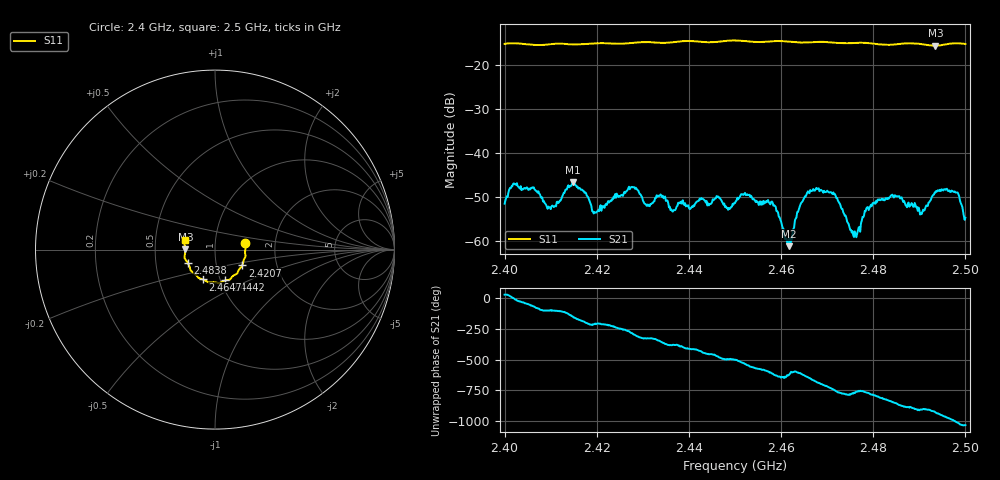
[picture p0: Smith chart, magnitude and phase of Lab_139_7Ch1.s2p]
# Hz S RI R 50
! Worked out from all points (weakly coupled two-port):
!   601 points, 2.4 GHz to 2.5 GHz, reference 50 ohm
!   highest |S21| = -46.71 dB at 2.4148 GHz (marker M1); lowest = -61.2 dB at 2.4617 GHz (marker M2)
!   lowest |S11| = -15.6 dB at 2.4935 GHz (marker M3), VSWR 1.40, Z = 35.8 + j0.143 ohm
!   |S11| at or under -10 dB: start of sweep to end of sweep
!   S12 and S22 are empty: the file has one direction only
!   S11 on the Smith chart (normalised r, x): 2.4 GHz: 1.40, +0.11; 2.4207 GHz: 1.33, -0.24; 2.4442 GHz: 1.05, -0.37; 2.4647 GHz: 0.83, -0.29; 2.4838 GHz: 0.73, -0.11; 2.5 GHz: 0.71, +0.08
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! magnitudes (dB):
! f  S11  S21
! 2.4 GHz  -15.2  -51.6
! 2.4023 GHz  -15.1  -47.2
! 2.4103 GHz  -15.2  -52.0
! 2.4148 GHz  -15.4  -46.7
! 2.4167 GHz  -15.3  -48.4
! 2.4207 GHz  -15.1  -52.4
! 2.4275 GHz  -15.1  -47.8
! 2.4333 GHz  -15.0  -49.7
! 2.4442 GHz  -14.9  -51.5
! 2.45 GHz  -14.5  -51.4
! 2.4583 GHz  -14.6  -52.0
! 2.4617 GHz  -14.7  -61.2
! 2.4647 GHz  -14.9  -51.0
! 2.4667 GHz  -14.9  -48.7
! 2.4717 GHz  -15.0  -49.3
! 2.476 GHz  -15.0  -57.8
! 2.4833 GHz  -15.5  -50.4
! 2.4838 GHz  -15.4  -49.7
! 2.4907 GHz  -15.3  -53.4
! 2.4935 GHz  -15.6  -49.0
! 2.498 GHz  -15.1  -49.0
! 2.5 GHz  -15.2  -54.7
